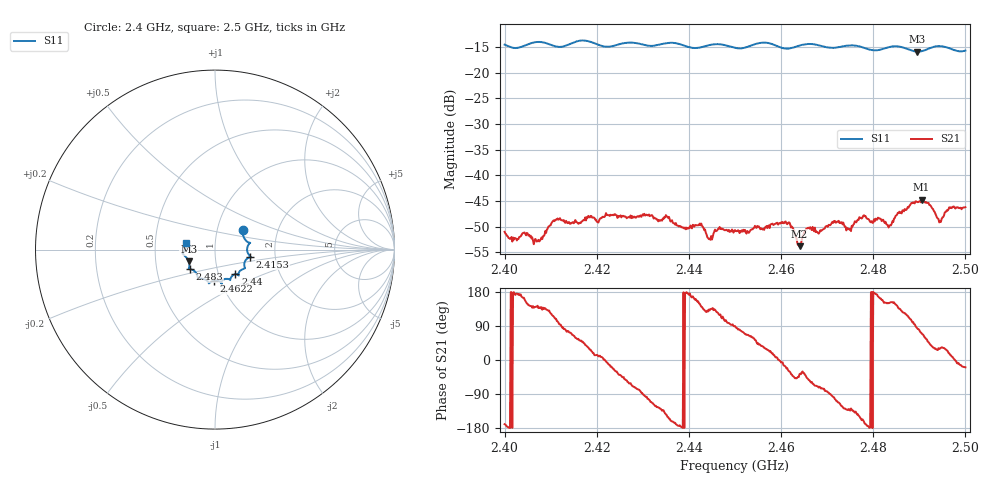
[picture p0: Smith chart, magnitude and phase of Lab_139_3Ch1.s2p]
# Hz S RI R 50
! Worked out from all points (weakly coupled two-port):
!   601 points, 2.4 GHz to 2.5 GHz, reference 50 ohm
!   highest |S21| = -44.75 dB at 2.4905 GHz (marker M1); lowest = -53.8 dB at 2.464 GHz (marker M2)
!   lowest |S11| = -15.9 dB at 2.4895 GHz (marker M3), VSWR 1.38, Z = 36.9 - j5.01 ohm
!   |S11| at or under -10 dB: start of sweep to end of sweep
!   S12 and S22 are empty: the file has one direction only
!   S11 on the Smith chart (normalised r, x): 2.4 GHz: 1.33, +0.29; 2.4153 GHz: 1.48, -0.12; 2.44 GHz: 1.20, -0.34; 2.4622 GHz: 0.93, -0.33; 2.483 GHz: 0.74, -0.17; 2.5 GHz: 0.72, +0.06
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2.4e9  0.1551 0.1065  -0.00276 -0.000517  0 0  0 0
2.406667e9  0.1952 0.038  -0.00184 0.00153  0 0  0 0
2.411e9  0.1808 0.0136  -0.00117 0.00347  0 0  0 0
2.415333e9  0.1964 -0.0388  0.00191 0.00313  0 0  0 0
2.416667e9  0.2019 -0.043  0.00222 0.00275  0 0  0 0
2.433333e9  0.1311 -0.1336  -0.00204 -0.00291  0 0  0 0
2.44e9  0.1139 -0.1367  -0.00306 0.000418  0 0  0 0
2.442667e9  0.0911 -0.1522  -0.00262 0.00214  0 0  0 0
2.4445e9  0.0848 -0.166  -0.00158 0.00183  0 0  0 0
2.45e9  0.0648 -0.1629  2.8e-05 0.00293  0 0  0 0
2.462167e9  -0.00744 -0.1737  0.00245 -0.00189  0 0  0 0
2.464e9  -0.0271 -0.1823  0.00162 -0.00123  0 0  0 0
2.466667e9  -0.0342 -0.1876  0.00155 -0.00248  0 0  0 0
2.472e9  -0.0697 -0.1617  -0.00107 -0.0033  0 0  0 0
2.474667e9  -0.0911 -0.1606  -0.00192 -0.00233  0 0  0 0
2.477833e9  -0.0986 -0.1462  -0.00377 -0.00143  0 0  0 0
2.483e9  -0.1376 -0.1094  -0.00284 0.00167  0 0  0 0
2.483333e9  -0.1401 -0.1092  -0.00267 0.00156  0 0  0 0
2.4895e9  -0.1464 -0.066  0.000534 0.00548  0 0  0 0
2.4905e9  -0.1539 -0.0523  0.00197 0.00544  0 0  0 0
2.494333e9  -0.1806 -0.0217  0.00303 0.00169  0 0  0 0
2.5e9  -0.1599 0.0394  0.00461 -0.00162  0 0  0 0
